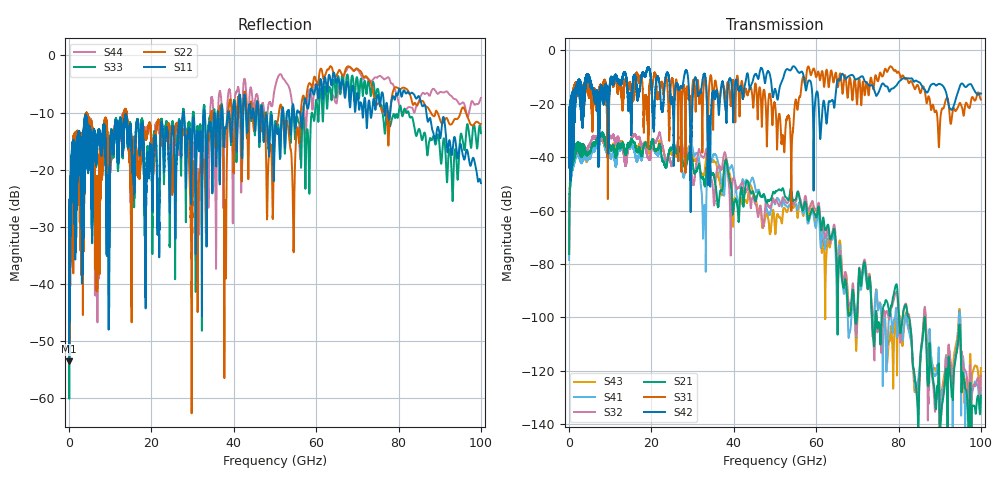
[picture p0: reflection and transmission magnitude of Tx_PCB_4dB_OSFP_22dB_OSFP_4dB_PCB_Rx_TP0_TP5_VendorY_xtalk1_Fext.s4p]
! Info: Touchstone file created by Circ.  Input file=Tx_PCB_4dB_OSFP_22dB_OSFP_4dB_PCB_Rx_TP0_TP5_VendorY.circ
# Hz S RI R 50
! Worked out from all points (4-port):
!   10000 points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, 10 MHz to 100 GHz, reference 50 ohm
!   strongest paths, dB at 10 MHz, 25.01 GHz, 50.01 GHz, 75.01 GHz, 100 GHz:
!     S42: -25.1, -19.1, -14.5, -16.2, -16.2
!     S31: -25.2, -10.5, -20.4, -11.6, -18.4
!     S21: -76.2, -36.9, -53.3, -102.7, -129.3
!     S32: -74.4, -43.2, -56.9, -104.3, -121.9
!     S41: -78.5, -36.6, -57.6, -97.2, -126.4
!     S43: -76.4, -39.0, -67.7, -97.2, -118.9
!   lowest |S11| = -53.5 dB at 40 MHz (marker M1), VSWR 1.00, Z = 49.8 + j0.104 ohm
!   |S11| at or under -10 dB: start of sweep to 27.68 GHz; 27.84 GHz to 32.68 GHz (4.84 GHz wide, 16 % of centre); 86.76 GHz to end of sweep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
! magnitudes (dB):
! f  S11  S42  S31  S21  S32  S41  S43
! 10 MHz  -25.3  -25.1  -25.2  -76.2  -74.4  -78.5  -76.4
! 40 MHz  -53.5  -30.7  -30.8  -64.2  -62.0  -66.4  -64.1
! 1.44 GHz  -17.8  -16.7  -13.3  -39.5  -39.2  -41.3  -40.4
! 7.86 GHz  -15.8  -14.5  -14.0  -31.6  -33.6  -32.8  -33.5
! 51.96 GHz  -9.4  -10.6  -32.2  -51.7  -55.0  -56.5  -60.0
! 58.1 GHz  -9.2  -11.4  -6.0  -63.7  -60.3  -64.9  -61.8
! 100 GHz  -22.4  -16.2  -18.4  -129.3  -121.9  -126.4  -118.9
